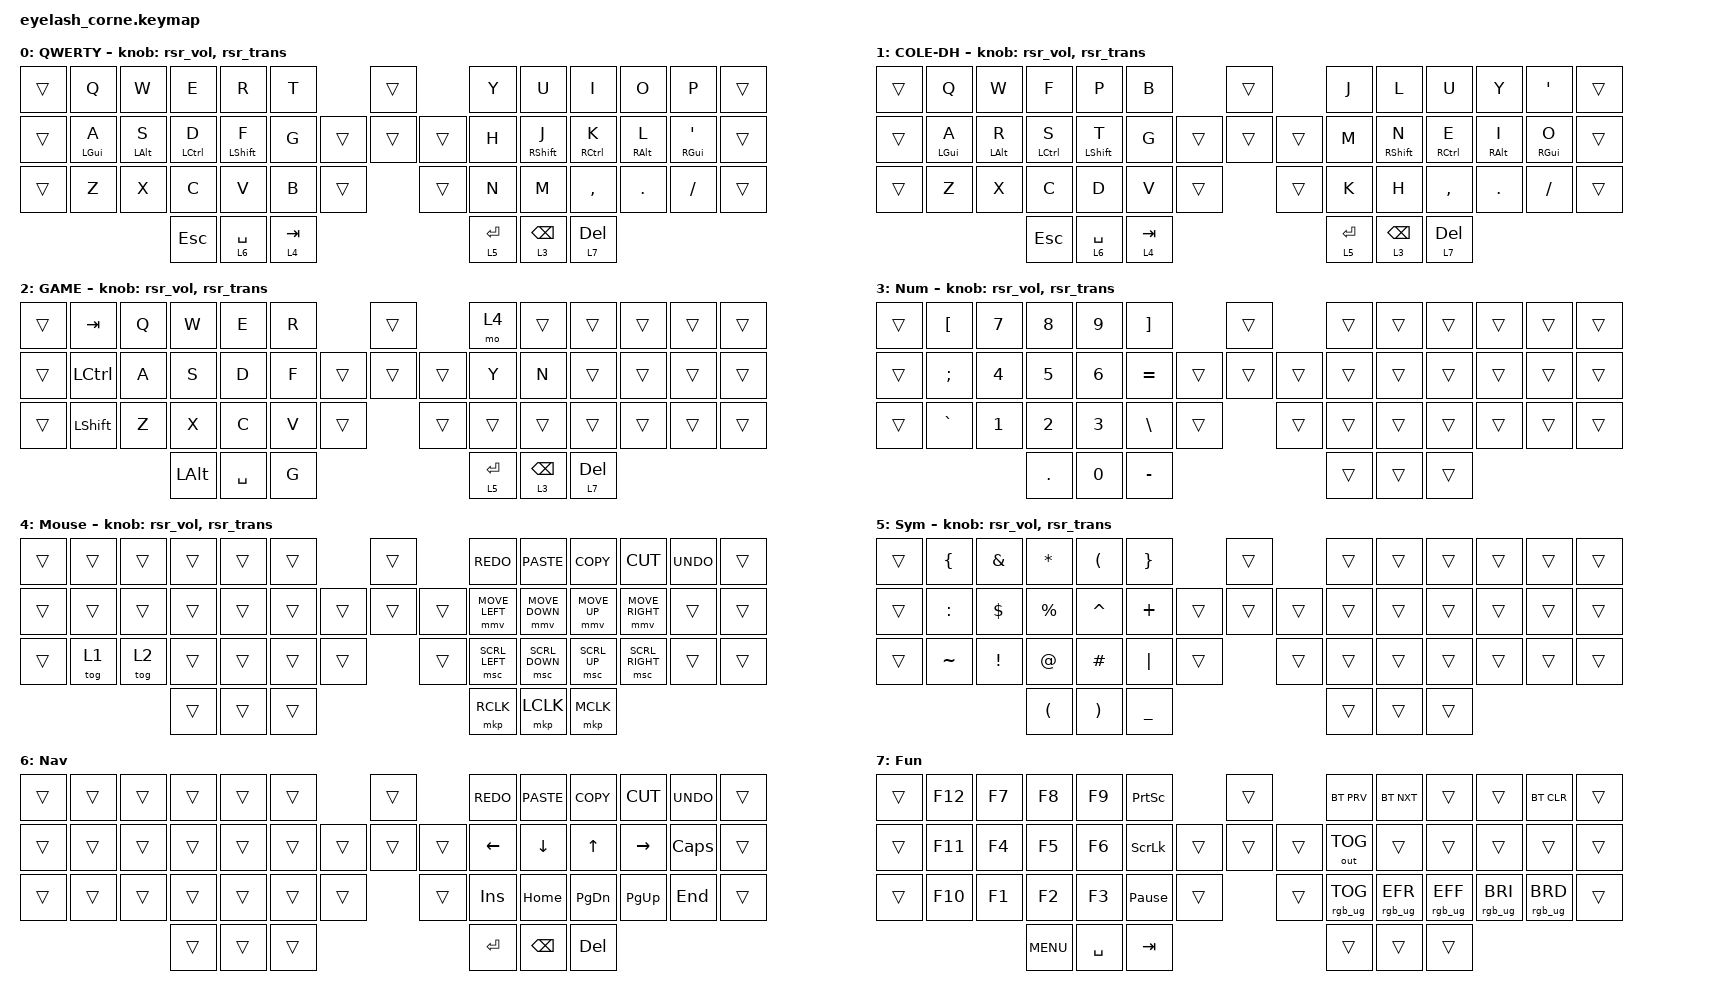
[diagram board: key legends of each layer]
#define ZMK_POINTING_DEFAULT_MOVE_VAL 1200  // 600
#define ZMK_POINTING_DEFAULT_SCRL_VAL 25   // 10

#include <input/processors.dtsi>
#include <zephyr/dt-bindings/input/input-event-codes.h>
#include <behaviors/runtime-sensor-rotate.dtsi>
#include <behaviors.dtsi>
#include <dt-bindings/zmk/bt.h>
#include <dt-bindings/zmk/keys.h>
#include <dt-bindings/zmk/outputs.h>
#include <dt-bindings/zmk/pointing.h>
#include <dt-bindings/zmk/rgb.h>

&soft_off { hold-time-ms = <2000>; };

/ {
    behaviors {
        hml: home_row_mod_left {
            compatible = "zmk,behavior-hold-tap";
            #binding-cells = <2>;
            flavor = "tap-preferred";
            require-prior-idle-ms = <125>;
            tapping-term-ms = <200>;
            quick-tap-ms = <175>;
            bindings = <&kp>, <&kp>;

            hold-trigger-key-positions = <18 30 31 32 33 0 1 2 3 4 5 17 16 15 14 13 28 29 42 43 44>;
            hold-trigger-on-release;
        };

        hmr: home_row_mod_right {
            compatible = "zmk,behavior-hold-tap";
            #binding-cells = <2>;
            flavor = "tap-preferred";
            require-prior-idle-ms = <125>;
            tapping-term-ms = <200>;
            quick-tap-ms = <175>;
            bindings = <&kp>, <&kp>;

            hold-trigger-key-positions = <12 24 25 26 27 36 37 38 7 8 10 9 11 40 41 39 23 22 45 46 47>;
            hold-trigger-on-release;
        };

        td0: td0 {
            compatible = "zmk,behavior-tap-dance";
            display-name = "Shift/Caps Lock Tap Dance";
            #binding-cells = <0>;
            bindings = <&kp LEFT_SHIFT>, <&kp CAPS>;
        };

        rsr_vol: rsr_vol {
            compatible = "zmk,behavior-runtime-sensor-rotate";
            #sensor-binding-cells = <0>;
            tap-ms = <5>;
            cw-binding = <&kp C_VOL_UP>;
            ccw-binding = <&kp C_VOL_DN>;
        };

        rsr_trans: rsr_trans {
            compatible = "zmk,behavior-runtime-sensor-rotate";
            #sensor-binding-cells = <0>;
            tap-ms = <0>;
        };
    };

    combos {
        compatible = "zmk,combos";

        softoff {
            bindings = <&soft_off>;
            key-positions = <1 15 29>;
        };
    };

    keymap {
        compatible = "zmk,keymap";

        QWERTY {
            display-name = "QWERTY";
            bindings = <
&trans  &kp Q            &kp W            &kp E                &kp R              &kp T                        &trans          &kp Y        &kp U               &kp I                 &kp O             &kp P                        &trans
&trans  &hml LEFT_GUI A  &hml LEFT_ALT S  &hml LEFT_CONTROL D  &hml LEFT_SHIFT F  &kp G                &trans  &trans  &trans  &kp H        &hmr RIGHT_SHIFT J  &hmr RIGHT_CONTROL K  &hmr RIGHT_ALT L  &hmr RIGHT_GUI SINGLE_QUOTE  &trans
&trans  &kp Z            &kp X            &kp C                &kp V              &kp B      &trans            &trans          &kp N        &kp M               &kp COMMA             &kp DOT           &kp FSLH                     &trans
                                          &kp ESCAPE           &lt 6 SPACE        &lt 4 TAB                                    &lt 5 ENTER  &lt 3 BACKSPACE     &lt 7 DELETE
            >;

            sensor-bindings = <&rsr_vol>, <&rsr_trans>;
        };

        COLE-DH {
            display-name = "COLE-DH";
            bindings = <
&trans  &kp Q            &kp W            &kp F                &kp P              &kp B                        &trans          &kp J        &kp L               &kp U                 &kp Y             &kp SINGLE_QUOTE  &trans
&trans  &hml LEFT_GUI A  &hml LEFT_ALT R  &hml LEFT_CONTROL S  &hml LEFT_SHIFT T  &kp G                &trans  &trans  &trans  &kp M        &hmr RIGHT_SHIFT N  &hmr RIGHT_CONTROL E  &hmr RIGHT_ALT I  &hmr RIGHT_GUI O  &trans
&trans  &kp Z            &kp X            &kp C                &kp D              &kp V      &trans            &trans          &kp K        &kp H               &kp COMMA             &kp DOT           &kp FSLH          &trans
                                          &kp ESCAPE           &lt 6 SPACE        &lt 4 TAB                                    &lt 5 ENTER  &lt 3 BACKSPACE     &lt 7 DELETE
            >;

            sensor-bindings = <&rsr_vol &rsr_trans>;
        };

        GAME {
            display-name = "GAME";
            bindings = <
&trans  &kp TAB    &kp Q  &kp W     &kp E      &kp R                    &trans          &mo 4        &trans           &trans        &trans  &trans  &trans
&trans  &kp LCTRL  &kp A  &kp S     &kp D      &kp F            &trans  &trans  &trans  &kp Y        &kp N            &trans        &trans  &trans  &trans
&trans  &kp LSHFT  &kp Z  &kp X     &kp C      &kp V  &trans            &trans          &trans       &trans           &trans        &trans  &trans  &trans
                          &kp LALT  &kp SPACE  &kp G                                    &lt 5 ENTER  &lt 3 BACKSPACE  &lt 7 DELETE
            >;

            sensor-bindings = <&rsr_vol>, <&rsr_trans>;
        };

        Numbers {
            display-name = "Num";
            bindings = <
&trans  &kp LBKT   &kp N7  &kp N8   &kp N9  &kp RBKT                     &trans          &trans  &trans  &trans  &trans  &trans  &trans
&trans  &kp SEMI   &kp N4  &kp N5   &kp N6  &kp EQUAL            &trans  &trans  &trans  &trans  &trans  &trans  &trans  &trans  &trans
&trans  &kp GRAVE  &kp N1  &kp N2   &kp N3  &kp BSLH   &trans            &trans          &trans  &trans  &trans  &trans  &trans  &trans
                           &kp DOT  &kp N0  &kp MINUS                                    &trans  &trans  &trans
            >;

            sensor-bindings = <&rsr_vol &rsr_trans>;
        };

        mouse {
            display-name = "Mouse";
            bindings = <
&trans  &trans  &trans  &trans  &trans  &trans                    &trans          &kp K_REDO      &kp K_PASTE     &kp K_COPY    &kp K_CUT        &kp K_UNDO  &trans
&trans  &trans  &trans  &trans  &trans  &trans            &trans  &trans  &trans  &mmv MOVE_LEFT  &mmv MOVE_DOWN  &mmv MOVE_UP  &mmv MOVE_RIGHT  &trans      &trans
&trans  &tog 1  &tog 2  &trans  &trans  &trans  &trans            &trans          &msc SCRL_LEFT  &msc SCRL_DOWN  &msc SCRL_UP  &msc SCRL_RIGHT  &trans      &trans
                        &trans  &trans  &trans                                    &mkp RCLK       &mkp LCLK       &mkp MCLK
            >;

            sensor-bindings = <&rsr_vol &rsr_trans>;
        };

        Symbols {
            display-name = "Sym";
            bindings = <
&trans  &kp LEFT_BRACE  &kp AMPERSAND  &kp STAR              &kp LEFT_PARENTHESIS   &kp RIGHT_BRACE                    &trans          &trans  &trans  &trans  &trans  &trans  &trans
&trans  &kp COLON       &kp DOLLAR     &kp PERCENT           &kp CARET              &kp PLUS                   &trans  &trans  &trans  &trans  &trans  &trans  &trans  &trans  &trans
&trans  &kp TILDE       &kp EXCL       &kp AT                &kp HASH               &kp PIPE         &trans            &trans          &trans  &trans  &trans  &trans  &trans  &trans
                                       &kp LEFT_PARENTHESIS  &kp RIGHT_PARENTHESIS  &kp UNDER                                          &trans  &trans  &trans
            >;

            sensor-bindings = <&rsr_vol &rsr_trans>;
        };

        Navigation {
            bindings = <
&trans  &trans  &trans  &trans  &trans  &trans                    &trans          &kp K_REDO  &kp K_PASTE    &kp K_COPY     &kp K_CUT    &kp K_UNDO    &trans
&trans  &trans  &trans  &trans  &trans  &trans            &trans  &trans  &trans  &kp LEFT    &kp DOWN       &kp UP_ARROW   &kp RIGHT    &kp CAPSLOCK  &trans
&trans  &trans  &trans  &trans  &trans  &trans  &trans            &trans          &kp INSERT  &kp HOME       &kp PAGE_DOWN  &kp PAGE_UP  &kp END       &trans
                        &trans  &trans  &trans                                    &kp ENTER   &kp BACKSPACE  &kp DELETE
            >;

            label = "Nav";
        };

        Functions {
            bindings = <
&trans  &kp F12  &kp F7  &kp F8      &kp F9     &kp PRINTSCREEN                    &trans          &bt BT_PRV       &bt BT_NXT       &trans           &trans           &bt BT_CLR       &trans
&trans  &kp F11  &kp F4  &kp F5      &kp F6     &kp SCROLLLOCK             &trans  &trans  &trans  &out OUT_TOG     &trans           &trans           &trans           &trans           &trans
&trans  &kp F10  &kp F1  &kp F2      &kp F3     &kp PAUSE_BREAK  &trans            &trans          &rgb_ug RGB_TOG  &rgb_ug RGB_EFR  &rgb_ug RGB_EFF  &rgb_ug RGB_BRI  &rgb_ug RGB_BRD  &trans
                         &kp K_MENU  &kp SPACE  &kp TAB                                            &trans           &trans           &trans
            >;

            label = "Fun";
        };
    };
};
